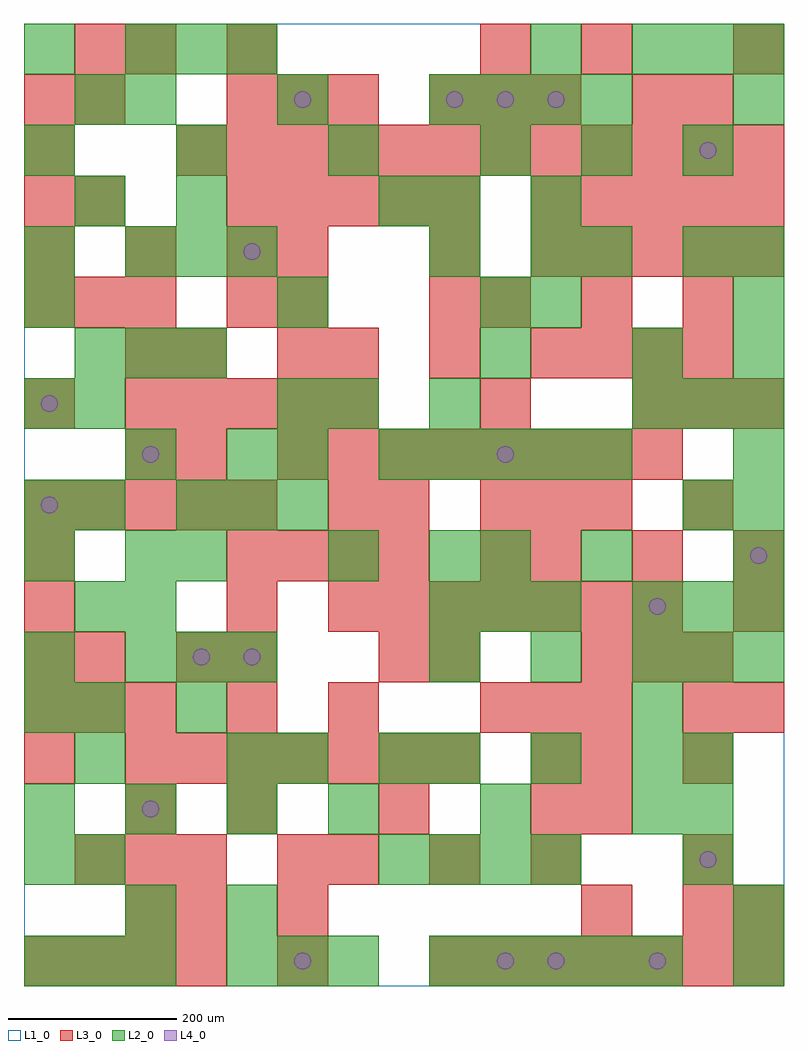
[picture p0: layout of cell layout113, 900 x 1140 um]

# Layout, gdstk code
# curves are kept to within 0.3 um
import gdstk
lib = gdstk.Library(unit=1e-6, precision=1e-09)
def R(c, l, rs):  # rectangles x0, y0, x1, y1
    for r in rs: c.add(gdstk.rectangle(r[:2], r[2:], *l))
def A(c, l, x, y, w, h, nx, ny, dx, dy):  # array of equal rectangles
    R(c, l, [(x+i*dx, y+j*dy, x+i*dx+w, y+j*dy+h) for i in range(nx) for j in range(ny)])
def P(c, l, *ps):  # polygons
    for p in ps: c.add(gdstk.Polygon(p, *l))
L1_0 = (1, 0)
L2_0 = (2, 0)
L3_0 = (3, 0)
L4_0 = (4, 0)

layout113 = lib.new_cell('layout113')
R(layout113, L1_0, [(0,0,900,1140)])
A(layout113, L2_0, 0, 0, 60, 60, 3, 1, 60, 0)
A(layout113, L2_0, 240, 0, 60, 60, 3, 1, 60, 0)
A(layout113, L2_0, 480, 0, 60, 60, 5, 1, 60, 0)
A(layout113, L2_0, 420, 120, 60, 60, 4, 1, 60, 0)
A(layout113, L2_0, 780, 120, 60, 60, 1, 3, 0, 60)
A(layout113, L2_0, 0, 180, 60, 60, 4, 1, 120, 0)
A(layout113, L2_0, 480, 240, 60, 60, 3, 2, 120, 120)
A(layout113, L2_0, 60, 300, 60, 60, 1, 4, 0, 120)
A(layout113, L2_0, 120, 360, 60, 60, 3, 2, 60, 480)
A(layout113, L2_0, 480, 420, 60, 60, 3, 1, 60, 0)
A(layout113, L2_0, 720, 420, 60, 60, 3, 2, 60, 240)
A(layout113, L2_0, 480, 480, 60, 60, 1, 3, 0, 180)
A(layout113, L2_0, 840, 480, 60, 60, 1, 3, 0, 60)
A(layout113, L2_0, 0, 540, 60, 60, 1, 3, 0, 120)
A(layout113, L2_0, 180, 540, 60, 60, 3, 1, 60, 0)
A(layout113, L2_0, 420, 600, 60, 60, 5, 1, 60, 0)
A(layout113, L2_0, 60, 720, 60, 60, 3, 1, 60, 0)
A(layout113, L2_0, 840, 720, 60, 60, 1, 3, 0, 60)
A(layout113, L2_0, 600, 780, 60, 60, 1, 3, 0, 60)
A(layout113, L2_0, 0, 960, 60, 60, 4, 1, 180, 0)
A(layout113, L2_0, 120, 1020, 60, 60, 3, 1, 180, 0)
A(layout113, L2_0, 540, 1020, 60, 60, 3, 1, 60, 0)
A(layout113, L2_0, 120, 1080, 60, 60, 3, 1, 60, 0)
A(layout113, L2_0, 720, 1080, 60, 60, 3, 1, 60, 0)
R(layout113, L2_0, [(840,0,900,60), (120,60,180,120), (240,60,300,120), (840,60,900,120), (0,120,60,180), (60,120,120,180), (540,180,600,240), (720,180,780,240), (60,240,120,300), (240,240,300,300), (300,240,360,300), (420,240,480,300), (0,300,60,360), (180,300,240,360), (720,300,780,360), (0,360,60,420), (780,360,840,420), (840,360,900,420), (120,420,180,480), (0,480,60,540), (120,480,180,540), (180,480,240,540), (360,480,420,540), (540,480,600,540), (660,480,720,540), (780,540,840,600), (120,600,180,660), (240,600,300,660), (300,600,360,660), (300,660,360,720), (360,660,420,720), (540,720,600,780), (720,720,780,780), (300,780,360,840), (540,780,600,840), (0,840,60,900), (660,840,720,900), (780,840,840,900), (60,900,120,960), (180,900,240,960), (420,900,480,960), (480,900,540,960), (660,960,720,1020), (780,960,840,1020), (60,1020,120,1080), (840,1020,900,1080), (0,1080,60,1140), (600,1080,660,1140)])
A(layout113, L3_0, 0, 0, 60, 60, 4, 1, 60, 0)
A(layout113, L3_0, 300, 0, 60, 60, 1, 3, 0, 60)
A(layout113, L3_0, 480, 0, 60, 60, 7, 1, 60, 0)
A(layout113, L3_0, 60, 120, 60, 60, 3, 1, 60, 0)
A(layout113, L3_0, 360, 120, 60, 60, 3, 2, 120, 600)
A(layout113, L3_0, 240, 180, 60, 60, 3, 1, 180, 0)
A(layout113, L3_0, 120, 240, 60, 60, 7, 1, 60, 0)
A(layout113, L3_0, 0, 300, 60, 60, 3, 2, 60, 480)
A(layout113, L3_0, 240, 300, 60, 60, 1, 3, 0, 60)
A(layout113, L3_0, 540, 300, 60, 60, 3, 2, 60, 240)
A(layout113, L3_0, 0, 360, 60, 60, 1, 3, 0, 60)
A(layout113, L3_0, 660, 360, 60, 60, 3, 2, 60, 360)
A(layout113, L3_0, 360, 420, 60, 60, 7, 1, 60, 0)
A(layout113, L3_0, 240, 480, 60, 60, 4, 1, 60, 0)
A(layout113, L3_0, 600, 480, 60, 60, 3, 1, 120, 0)
A(layout113, L3_0, 0, 540, 60, 60, 5, 1, 60, 0)
A(layout113, L3_0, 300, 600, 60, 60, 8, 1, 60, 0)
A(layout113, L3_0, 120, 660, 60, 60, 5, 1, 60, 0)
A(layout113, L3_0, 720, 660, 60, 60, 3, 1, 60, 0)
A(layout113, L3_0, 300, 720, 60, 60, 1, 3, 0, 60)
A(layout113, L3_0, 540, 780, 60, 60, 3, 1, 120, 0)
A(layout113, L3_0, 0, 840, 60, 60, 3, 1, 120, 0)
A(layout113, L3_0, 600, 840, 60, 60, 5, 2, 60, 60)
A(layout113, L3_0, 0, 900, 60, 60, 1, 3, 0, 60)
A(layout113, L3_0, 240, 900, 60, 60, 5, 1, 60, 0)
A(layout113, L3_0, 180, 960, 60, 60, 12, 1, 60, 0)
A(layout113, L3_0, 240, 1020, 60, 60, 3, 1, 60, 0)
A(layout113, L3_0, 480, 1020, 60, 60, 3, 1, 60, 0)
R(layout113, L3_0, [(120,60,180,120), (180,60,240,120), (660,60,720,120), (780,60,840,120), (840,60,900,120), (780,120,840,180), (120,180,180,240), (660,180,720,240), (0,240,60,300), (600,240,660,300), (660,240,720,300), (780,240,840,300), (360,300,420,360), (780,300,840,360), (840,300,900,360), (60,360,120,420), (180,360,240,420), (420,360,480,420), (480,360,540,420), (840,420,900,480), (540,480,600,540), (360,540,420,600), (420,540,480,600), (780,540,840,600), (120,600,180,660), (180,600,240,660), (0,660,60,720), (540,660,600,720), (120,720,180,780), (180,720,240,780), (240,780,300,840), (480,780,540,840), (480,840,540,900), (60,900,120,960), (60,1020,120,1080), (720,1020,780,1080), (780,1020,840,1080), (60,1080,120,1140), (120,1080,180,1140), (240,1080,300,1140), (540,1080,600,1140), (660,1080,720,1140), (840,1080,900,1140)])
P(layout113, L4_0, [(40,570),(39.239,573.827),(37.071,577.071),(33.827,579.239),(30,580),(26.173,579.239),(22.929,577.071),(20.761,573.827),(20,570),(20.761,566.173),(22.929,562.929),(26.173,560.761),(30,560),(33.827,560.761),(37.071,562.929),(39.239,566.173)],
  [(40,690),(39.239,693.827),(37.071,697.071),(33.827,699.239),(30,700),(26.173,699.239),(22.929,697.071),(20.761,693.827),(20,690),(20.761,686.173),(22.929,682.929),(26.173,680.761),(30,680),(33.827,680.761),(37.071,682.929),(39.239,686.173)],
  [(160,210),(159.239,213.827),(157.071,217.071),(153.827,219.239),(150,220),(146.173,219.239),(142.929,217.071),(140.761,213.827),(140,210),(140.761,206.173),(142.929,202.929),(146.173,200.761),(150,200),(153.827,200.761),(157.071,202.929),(159.239,206.173)],
  [(160,630),(159.239,633.827),(157.071,637.071),(153.827,639.239),(150,640),(146.173,639.239),(142.929,637.071),(140.761,633.827),(140,630),(140.761,626.173),(142.929,622.929),(146.173,620.761),(150,620),(153.827,620.761),(157.071,622.929),(159.239,626.173)],
  [(220,390),(219.239,393.827),(217.071,397.071),(213.827,399.239),(210,400),(206.173,399.239),(202.929,397.071),(200.761,393.827),(200,390),(200.761,386.173),(202.929,382.929),(206.173,380.761),(210,380),(213.827,380.761),(217.071,382.929),(219.239,386.173)],
  [(280,390),(279.239,393.827),(277.071,397.071),(273.827,399.239),(270,400),(266.173,399.239),(262.929,397.071),(260.761,393.827),(260,390),(260.761,386.173),(262.929,382.929),(266.173,380.761),(270,380),(273.827,380.761),(277.071,382.929),(279.239,386.173)],
  [(280,870),(279.239,873.827),(277.071,877.071),(273.827,879.239),(270,880),(266.173,879.239),(262.929,877.071),(260.761,873.827),(260,870),(260.761,866.173),(262.929,862.929),(266.173,860.761),(270,860),(273.827,860.761),(277.071,862.929),(279.239,866.173)],
  [(340,30),(339.239,33.827),(337.071,37.071),(333.827,39.239),(330,40),(326.173,39.239),(322.929,37.071),(320.761,33.827),(320,30),(320.761,26.173),(322.929,22.929),(326.173,20.761),(330,20),(333.827,20.761),(337.071,22.929),(339.239,26.173)],
  [(340,1050),(339.239,1053.827),(337.071,1057.071),(333.827,1059.239),(330,1060),(326.173,1059.239),(322.929,1057.071),(320.761,1053.827),(320,1050),(320.761,1046.173),(322.929,1042.929),(326.173,1040.761),(330,1040),(333.827,1040.761),(337.071,1042.929),(339.239,1046.173)],
  [(520,1050),(519.239,1053.827),(517.071,1057.071),(513.827,1059.239),(510,1060),(506.173,1059.239),(502.929,1057.071),(500.761,1053.827),(500,1050),(500.761,1046.173),(502.929,1042.929),(506.173,1040.761),(510,1040),(513.827,1040.761),(517.071,1042.929),(519.239,1046.173)],
  [(580,30),(579.239,33.827),(577.071,37.071),(573.827,39.239),(570,40),(566.173,39.239),(562.929,37.071),(560.761,33.827),(560,30),(560.761,26.173),(562.929,22.929),(566.173,20.761),(570,20),(573.827,20.761),(577.071,22.929),(579.239,26.173)],
  [(580,630),(579.239,633.827),(577.071,637.071),(573.827,639.239),(570,640),(566.173,639.239),(562.929,637.071),(560.761,633.827),(560,630),(560.761,626.173),(562.929,622.929),(566.173,620.761),(570,620),(573.827,620.761),(577.071,622.929),(579.239,626.173)],
  [(580,1050),(579.239,1053.827),(577.071,1057.071),(573.827,1059.239),(570,1060),(566.173,1059.239),(562.929,1057.071),(560.761,1053.827),(560,1050),(560.761,1046.173),(562.929,1042.929),(566.173,1040.761),(570,1040),(573.827,1040.761),(577.071,1042.929),(579.239,1046.173)],
  [(640,30),(639.239,33.827),(637.071,37.071),(633.827,39.239),(630,40),(626.173,39.239),(622.929,37.071),(620.761,33.827),(620,30),(620.761,26.173),(622.929,22.929),(626.173,20.761),(630,20),(633.827,20.761),(637.071,22.929),(639.239,26.173)],
  [(640,1050),(639.239,1053.827),(637.071,1057.071),(633.827,1059.239),(630,1060),(626.173,1059.239),(622.929,1057.071),(620.761,1053.827),(620,1050),(620.761,1046.173),(622.929,1042.929),(626.173,1040.761),(630,1040),(633.827,1040.761),(637.071,1042.929),(639.239,1046.173)],
  [(760,30),(759.239,33.827),(757.071,37.071),(753.827,39.239),(750,40),(746.173,39.239),(742.929,37.071),(740.761,33.827),(740,30),(740.761,26.173),(742.929,22.929),(746.173,20.761),(750,20),(753.827,20.761),(757.071,22.929),(759.239,26.173)],
  [(760,450),(759.239,453.827),(757.071,457.071),(753.827,459.239),(750,460),(746.173,459.239),(742.929,457.071),(740.761,453.827),(740,450),(740.761,446.173),(742.929,442.929),(746.173,440.761),(750,440),(753.827,440.761),(757.071,442.929),(759.239,446.173)],
  [(820,150),(819.239,153.827),(817.071,157.071),(813.827,159.239),(810,160),(806.173,159.239),(802.929,157.071),(800.761,153.827),(800,150),(800.761,146.173),(802.929,142.929),(806.173,140.761),(810,140),(813.827,140.761),(817.071,142.929),(819.239,146.173)],
  [(820,990),(819.239,993.827),(817.071,997.071),(813.827,999.239),(810,1000),(806.173,999.239),(802.929,997.071),(800.761,993.827),(800,990),(800.761,986.173),(802.929,982.929),(806.173,980.761),(810,980),(813.827,980.761),(817.071,982.929),(819.239,986.173)],
  [(880,510),(879.239,513.827),(877.071,517.071),(873.827,519.239),(870,520),(866.173,519.239),(862.929,517.071),(860.761,513.827),(860,510),(860.761,506.173),(862.929,502.929),(866.173,500.761),(870,500),(873.827,500.761),(877.071,502.929),(879.239,506.173)])

lib.write_gds('layout113.gds')
